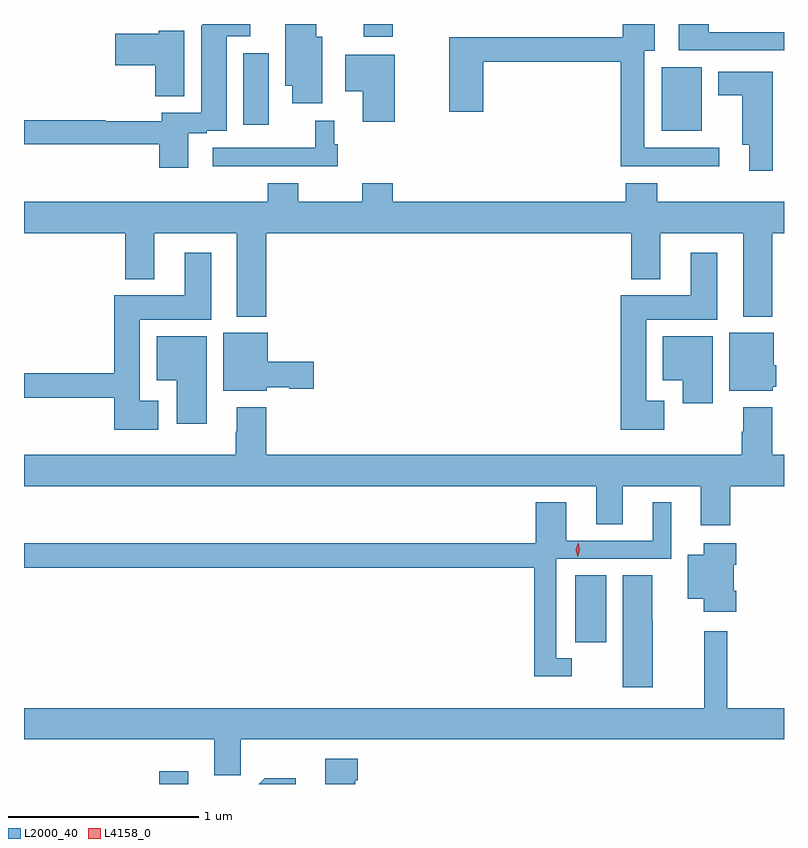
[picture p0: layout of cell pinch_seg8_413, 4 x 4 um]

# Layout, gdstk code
import gdstk
lib = gdstk.Library(unit=1e-6, precision=1e-09)
def R(c, l, rs):  # rectangles x0, y0, x1, y1
    for r in rs: c.add(gdstk.rectangle(r[:2], r[2:], *l))
def P(c, l, *ps):  # polygons
    for p in ps: c.add(gdstk.Polygon(p, *l))
L2000_40 = (2000, 40)
L4158_0 = (4158, 0)

pinch_seg8_413 = lib.new_cell('pinch_seg8_413')
R(pinch_seg8_413, L2000_40, [(286.577,1137.576,286.729,1137.643), (288.764,1138.323,288.928,1138.676), (289.22,1141.013,289.432,1141.348), (287.018,1141.047,287.152,1141.423), (287.651,1141.509,287.804,1141.576)])
P(pinch_seg8_413, L2000_40, [(286.729,1141.002),(286.826,1141.002),(286.826,1141.014),(286.93,1141.014),(286.93,1141.512),(287.056,1141.512),(287.056,1141.576),(286.804,1141.576),(286.796,1141.568),(286.796,1141.11),(286.589,1141.11),(286.589,1141.063),(286.293,1141.063),(286.293,1141.07),(285.864,1141.07),(285.864,1140.942),(286.577,1140.942),(286.577,1140.819),(286.729,1140.819)],
  [(287.434,1141.51),(287.401,1141.51),(287.401,1141.576),(287.24,1141.576),(287.24,1141.25),(287.276,1141.25),(287.276,1141.158),(287.434,1141.158)],
  [(289.864,1141.533),(289.467,1141.533),(289.467,1141.576),(289.311,1141.576),(289.311,1141.437),(289.864,1141.437)],
  [(289.522,1140.924),(289.129,1140.924),(289.129,1141.436),(289.183,1141.436),(289.183,1141.576),(289.016,1141.576),(289.016,1141.507),(288.103,1141.507),(288.103,1141.113),(288.281,1141.113),(288.281,1141.378),(289.004,1141.378),(289.004,1140.827),(289.522,1140.827)],
  [(286.708,1141.54),(286.572,1141.54),(286.572,1141.525),(286.344,1141.525),(286.344,1141.36),(286.556,1141.36),(286.556,1141.195),(286.708,1141.195)],
  [(287.814,1141.414),(287.555,1141.414),(287.555,1141.223),(287.648,1141.223),(287.648,1141.062),(287.814,1141.062)],
  [(289.804,1141.324),(289.517,1141.324),(289.517,1141.202),(289.643,1141.202),(289.643,1140.941),(289.682,1140.941),(289.682,1140.804),(289.804,1140.804)],
  [(287.516,1140.942),(287.497,1140.942),(287.497,1141.066),(287.398,1141.066),(287.398,1140.924),(286.857,1140.924),(286.857,1140.828),(287.516,1140.828)],
  [(287.138,1140.476),(289.061,1140.476),(289.061,1140.233),(289.213,1140.233),(289.213,1140.476),(289.649,1140.476),(289.649,1140.035),(289.802,1140.035),(289.802,1140.476),(289.864,1140.476),(289.864,1140.64),(289.196,1140.64),(289.196,1140.739),(289.031,1140.739),(289.031,1140.64),(287.804,1140.64),(287.804,1140.739),(287.644,1140.739),(287.644,1140.64),(287.307,1140.64),(287.307,1140.739),(287.147,1140.739),(287.147,1140.64),(285.864,1140.64),(285.864,1140.476),(286.397,1140.476),(286.397,1140.233),(286.549,1140.233),(286.549,1140.476),(286.985,1140.476),(286.985,1140.035),(287.138,1140.035)],
  [(286.57,1139.593),(286.474,1139.593),(286.474,1140.02),(286.849,1140.02),(286.849,1140.373),(286.709,1140.373),(286.709,1140.148),(286.34,1140.148),(286.34,1139.738),(285.864,1139.738),(285.864,1139.61),(286.34,1139.61),(286.34,1139.441),(286.57,1139.441)],
  [(289.234,1139.593),(289.138,1139.593),(289.138,1140.02),(289.513,1140.02),(289.513,1140.373),(289.373,1140.373),(289.373,1140.148),(289.004,1140.148),(289.004,1139.441),(289.234,1139.441)],
  [(287.142,1139.663),(287.259,1139.663),(287.259,1139.656),(287.389,1139.656),(287.389,1139.798),(287.146,1139.798),(287.146,1139.95),(286.913,1139.95),(286.913,1139.645),(287.142,1139.645)],
  [(289.806,1139.667),(289.822,1139.667),(289.822,1139.781),(289.81,1139.781),(289.81,1139.95),(289.577,1139.95),(289.577,1139.645),(289.806,1139.645)],
  [(286.825,1139.932),(286.562,1139.932),(286.562,1139.702),(286.667,1139.702),(286.667,1139.472),(286.825,1139.472)],
  [(289.489,1139.932),(289.226,1139.932),(289.226,1139.702),(289.331,1139.702),(289.331,1139.58),(289.489,1139.58)],
  [(289.58,1139.144),(289.864,1139.144),(289.864,1139.308),(289.802,1139.308),(289.802,1139.56),(289.649,1139.56),(289.649,1139.429),(289.642,1139.429),(289.642,1139.308),(287.138,1139.308),(287.138,1139.56),(286.985,1139.56),(286.985,1139.429),(286.978,1139.429),(286.978,1139.308),(285.864,1139.308),(285.864,1139.144),(288.875,1139.144),(288.875,1138.942),(289.015,1138.942),(289.015,1139.144),(289.427,1139.144),(289.427,1138.938),(289.58,1138.938)],
  [(288.748,1138.239),(288.666,1138.239),(288.666,1138.761),(289.27,1138.761),(289.27,1139.059),(289.172,1139.059),(289.172,1138.857),(288.718,1138.857),(288.718,1139.059),(288.557,1139.059),(288.557,1138.843),(285.864,1138.843),(285.864,1138.714),(288.55,1138.714),(288.55,1138.142),(288.748,1138.142)],
  [(289.613,1138.594),(289.6,1138.594),(289.6,1138.73),(289.613,1138.73),(289.613,1138.843),(289.442,1138.843),(289.442,1138.783),(289.358,1138.783),(289.358,1138.55),(289.442,1138.55),(289.442,1138.482),(289.613,1138.482)],
  [(289.174,1138.434),(289.171,1138.434),(289.171,1138.676),(289.016,1138.676),(289.016,1138.086),(289.174,1138.086)],
  [(287.004,1137.812),(289.864,1137.812),(289.864,1137.976),(289.565,1137.976),(289.565,1138.381),(289.444,1138.381),(289.444,1137.976),(285.864,1137.976),(285.864,1137.812),(286.865,1137.812),(286.865,1137.622),(287.004,1137.622)],
  [(287.608,1137.596),(287.621,1137.596),(287.621,1137.709),(287.45,1137.709),(287.45,1137.576),(287.608,1137.576)],
  [(287.293,1137.607),(287.131,1137.607),(287.1,1137.576),(287.293,1137.576)])
P(pinch_seg8_413, L4158_0, [(288.778,1138.773),(288.778,1138.773),(288.769,1138.81),(288.78,1138.846),(288.78,1138.846),(288.781,1138.846),(288.789,1138.809),(288.778,1138.773)])

lib.write_gds('pinch_seg8_413.gds')
